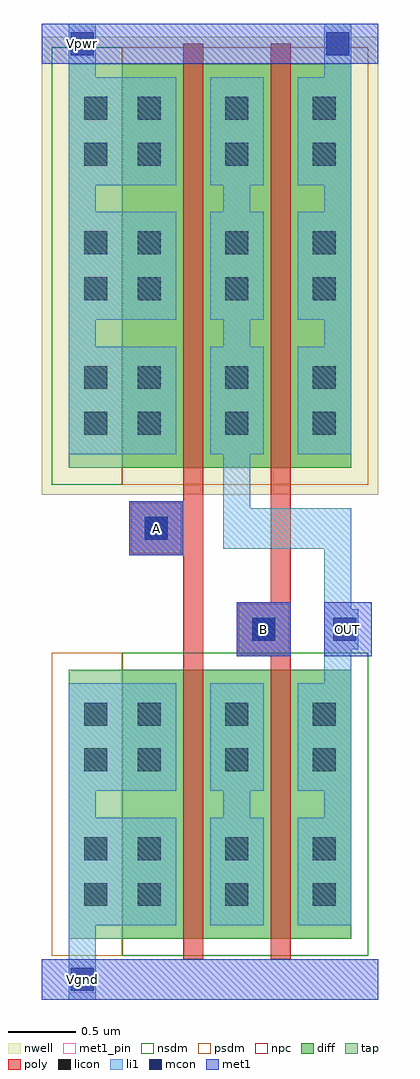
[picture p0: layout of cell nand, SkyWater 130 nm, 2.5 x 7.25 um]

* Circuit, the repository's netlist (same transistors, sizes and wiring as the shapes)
* NGSPICE file created from nand.ext - technology: sky130A

.subckt nand A OUT Vpwr Vgnd B
X0 OUT A Vpwr Vpwr sky130_fd_pr__pfet_01v8 ad=0.75 pd=3.5 as=1.35 ps=6.9 w=3 l=0.15
X1 OUT B a_30_n300# Vgnd sky130_fd_pr__nfet_01v8 ad=0.9 pd=4.9 as=0.5 ps=2.5 w=2 l=0.15
X2 Vpwr B OUT Vpwr sky130_fd_pr__pfet_01v8 ad=1.35 pd=6.9 as=0.75 ps=3.5 w=3 l=0.15
X3 a_30_n300# A Vgnd Vgnd sky130_fd_pr__nfet_01v8 ad=0.5 pd=2.5 as=0.9 ps=4.9 w=2 l=0.15
.ends

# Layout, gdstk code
import gdstk
lib = gdstk.Library(unit=1e-6, precision=1e-09)
def R(c, l, rs):  # rectangles x0, y0, x1, y1
    for r in rs: c.add(gdstk.rectangle(r[:2], r[2:], *l))
def A(c, l, x, y, w, h, nx, ny, dx, dy):  # array of equal rectangles
    R(c, l, [(x+i*dx, y+j*dy, x+i*dx+w, y+j*dy+h) for i in range(nx) for j in range(ny)])
nwell = (64, 20)
diff = (65, 20)
tap = (65, 44)
poly = (66, 20)
licon = (66, 44)
li1 = (67, 20)
mcon = (67, 44)
met1_pin = (68, 16)
met1 = (68, 20)
nsdm = (93, 44)
psdm = (94, 20)
npc = (95, 20)

nand = lib.new_cell('nand')
R(nand, nwell, [(-1.05,1.8,1.45,5.2)])
R(nand, diff, [(-0.45,-1.5,1.25,0.5), (-0.45,2,1.25,5)])
R(nand, tap, [(-0.85,-1.5,-0.45,0.5), (-0.85,2,-0.45,5)])
R(nand, poly, [(0,-1.65,0.15,1.35), (0.65,-1.65,0.8,0.6), (0.4,0.6,0.8,1), (0.65,1,0.8,5.15), (-0.4,1.35,0.15,1.75), (0,1.75,0.15,5.15)])
A(nand, licon, -0.335, -1.255, 0.17, 0.17, 3, 2, 0.65, 0.34)
A(nand, licon, -0.335, -0.255, 0.17, 0.17, 3, 2, 0.65, 0.34)
A(nand, licon, -0.335, 2.245, 0.17, 0.17, 3, 2, 0.65, 0.34)
A(nand, licon, -0.335, 3.245, 0.17, 0.17, 3, 2, 0.65, 0.34)
A(nand, licon, -0.335, 4.245, 0.17, 0.17, 3, 2, 0.65, 0.34)
R(nand, licon, [(-0.735,-1.255,-0.565,-1.085), (-0.735,-0.915,-0.565,-0.745), (-0.735,-0.255,-0.565,-0.085), (-0.735,0.085,-0.565,0.255), (0.515,0.715,0.685,0.885), (-0.285,1.465,-0.115,1.635), (-0.735,2.245,-0.565,2.415), (-0.735,2.585,-0.565,2.755), (-0.735,3.245,-0.565,3.415), (-0.735,3.585,-0.565,3.755), (-0.735,4.245,-0.565,4.415), (-0.735,4.585,-0.565,4.755)])
A(nand, li1, -0.85, 2.1, 0.8, 0.8, 1, 3, 0, 1)
A(nand, li1, 0.2, 2.1, 0.4, 0.8, 1, 3, 0, 1)
A(nand, li1, 0.85, 2.1, 0.4, 0.8, 1, 3, 0, 1)
R(nand, li1, [(-0.85,-1.95,-0.65,-1.4), (-0.85,-1.4,-0.05,-0.6), (0.2,-1.4,0.6,-0.6), (0.85,-1.4,1.25,-0.6), (-0.85,-0.6,-0.65,-0.4), (0.3,-0.6,0.5,-0.4), (1.05,-0.6,1.25,-0.4), (-0.85,-0.4,-0.05,0.4), (0.2,-0.4,0.6,0.4), (0.85,-0.4,1.25,0.4), (1.05,0.4,1.25,0.65), (0.4,0.6,0.8,1), (1.05,0.65,1.3,0.95), (1.05,0.95,1.25,1.4), (-0.4,1.35,0,1.75), (0.3,1.4,1.25,1.7), (0.3,1.7,0.5,2.1), (-0.85,2.9,-0.65,3.1), (0.3,2.9,0.5,3.1), (1.05,2.9,1.25,3.1), (-0.85,3.9,-0.65,4.1), (0.3,3.9,0.5,4.1), (1.05,3.9,1.25,4.1), (-0.85,4.9,-0.65,5.3), (1.05,4.9,1.25,5.3)])
R(nand, mcon, [(-0.835,-1.885,-0.665,-1.715), (0.515,0.715,0.685,0.885), (1.115,0.715,1.285,0.885), (-0.285,1.465,-0.115,1.635), (-0.835,5.065,-0.665,5.235), (1.065,5.065,1.235,5.235)])
R(nand, met1_pin, [(-0.85,-1.9,-0.65,-1.7), (0.4,0.6,0.8,1), (1.05,0.6,1.4,1), (-0.4,1.35,0,1.75), (-0.85,5.05,-0.65,5.25)])
R(nand, met1, [(-1.05,-1.95,1.45,-1.65), (0.4,0.6,0.8,1), (1.05,0.6,1.4,1), (-0.4,1.35,0,1.75), (-1.05,5,1.45,5.3)])
R(nand, nsdm, [(-0.45,-1.625,1.375,0.625), (-0.975,1.875,-0.45,5.125)])
R(nand, psdm, [(-0.975,-1.625,-0.45,0.625), (-0.45,1.875,1.375,5.125)])
R(nand, npc, [(0.415,0.615,0.785,0.985), (-0.385,1.365,-0.015,1.735)])
nand.add(gdstk.Label('A', (-0.2,1.55), layer=68, texttype=5))
nand.add(gdstk.Label('OUT', (1.225,0.8), layer=68, texttype=5))
nand.add(gdstk.Label('Vpwr', (-0.75,5.15), layer=68, texttype=5))
nand.add(gdstk.Label('Vgnd', (-0.75,-1.8), layer=68, texttype=5))
nand.add(gdstk.Label('B', (0.6,0.8), layer=68, texttype=5))

lib.write_gds('nand.gds')
